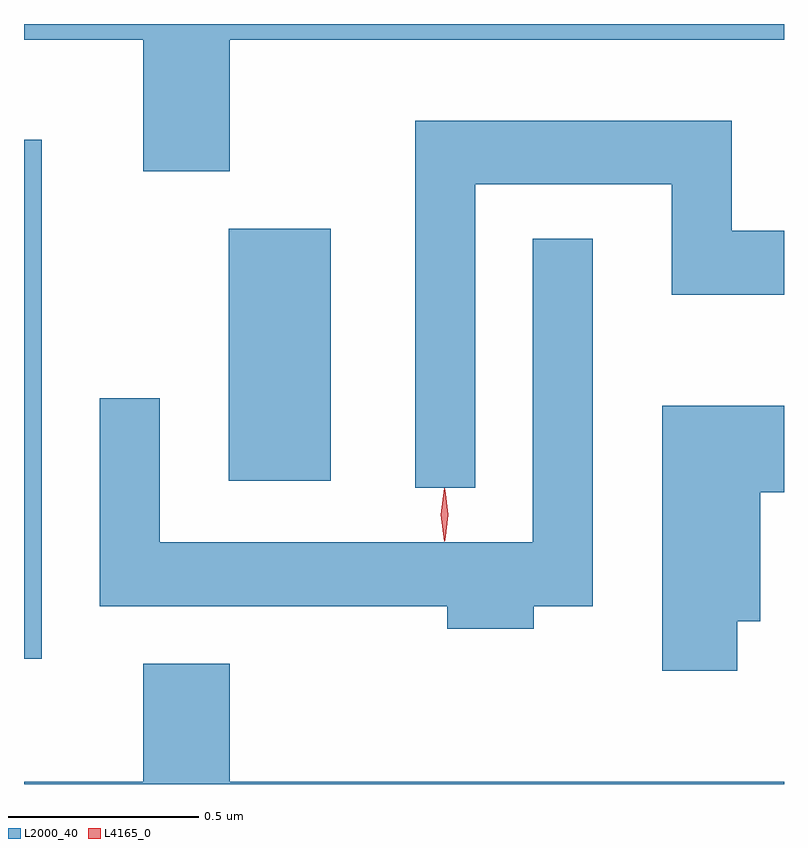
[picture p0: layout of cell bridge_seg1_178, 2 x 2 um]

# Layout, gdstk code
import gdstk
lib = gdstk.Library(unit=1e-6, precision=1e-09)
def R(c, l, rs):  # rectangles x0, y0, x1, y1
    for r in rs: c.add(gdstk.rectangle(r[:2], r[2:], *l))
def P(c, l, *ps):  # polygons
    for p in ps: c.add(gdstk.Polygon(p, *l))
L2000_40 = (2000, 40)
L4165_0 = (4165, 0)

bridge_seg1_178 = lib.new_cell('bridge_seg1_178')
R(bridge_seg1_178, L2000_40, [(803.397,931.248,803.444,932.614), (803.936,931.716,804.204,932.379)])
P(bridge_seg1_178, L2000_40, [(803.939,932.876),(805.397,932.876),(805.397,932.918),(803.397,932.918),(803.397,932.876),(803.711,932.876),(803.711,932.531),(803.939,932.531)],
  [(804.584,932.496),(805.101,932.496),(805.101,932.206),(805.397,932.206),(805.397,932.374),(805.259,932.374),(805.259,932.664),(804.426,932.664),(804.426,931.698),(804.584,931.698)],
  [(804.739,931.386),(804.894,931.386),(804.894,932.353),(804.736,932.353),(804.736,931.554),(803.754,931.554),(803.754,931.933),(803.596,931.933),(803.596,931.386),(804.511,931.386),(804.511,931.326),(804.739,931.326)],
  [(805.274,931.346),(805.334,931.346),(805.334,931.686),(805.397,931.686),(805.397,931.914),(805.076,931.914),(805.076,931.216),(805.274,931.216)],
  [(805.397,930.924),(803.939,930.924),(803.939,931.234),(803.711,931.234),(803.711,930.924),(803.397,930.924),(803.397,930.918),(805.397,930.918)])
P(bridge_seg1_178, L4165_0, [(804.503,931.557),(804.494,931.626),(804.503,931.696),(804.504,931.696),(804.504,931.696),(804.514,931.626),(804.504,931.557),(804.504,931.557)],
  [(804.504,931.559),(804.504,931.56),(804.494,931.626),(804.504,931.692),(804.504,931.693),(804.505,931.692),(804.514,931.626),(804.505,931.56)])

lib.write_gds('bridge_seg1_178.gds')
